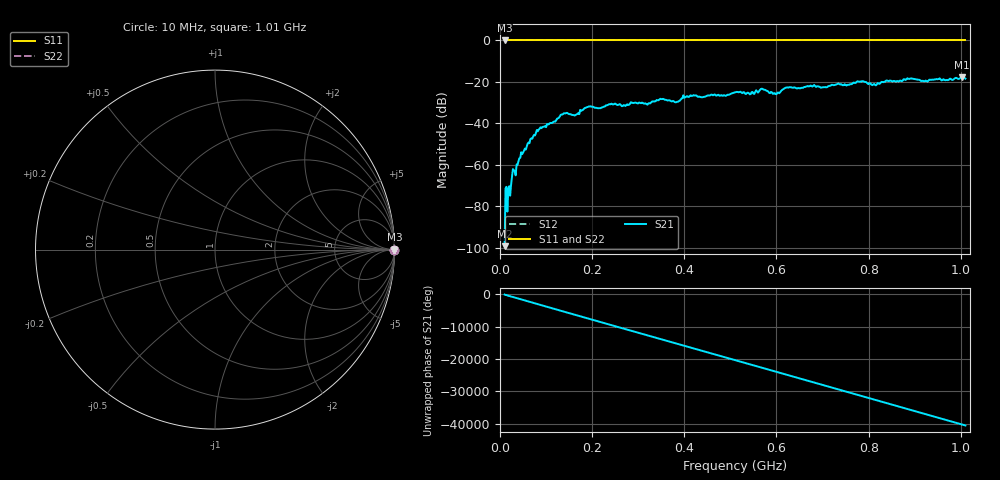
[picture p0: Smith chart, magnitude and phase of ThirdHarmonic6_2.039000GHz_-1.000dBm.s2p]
! 8/17/2025 12:27:34 AM
! C:\ANRITSUVNA\TEMP\TEMP.S2P
! CHANNEL.1
! TR.MEASUREMENT
! RAW.DATA
! RF.CORRECTION.OFF
! AVERAGING.OFF
! IF.BANDWIDTH: 5KHZ
! SWEEPTYPE:  FREQ.SWEEP(Linear)
! Reference Plane Port Info
! PORT:  PORT1  PORT2
! DISTANCE:  0  m  0  m
! TIME:  0  s  0  s
! PHASE.OFFSET:  0  deg.  0  deg.
! LOSS:  0  dB  0  dB
! REF.LOSS:  0  dB  0  dB
! REF.FREQ:  0  Hz  0  Hz
! Power Info
! POWER:  -20  dBm  -20  dBm
! EFF.POWER:  -20  dBm  -20  dBm
! SOURCE.ATTEN:  0  dB  0  dB
! TEST.ATTEN:  0  dB  0  dB
# GHZ S RI R 50.0
! FREQ.GHZ  S11RE  S11IM  S21RE  S21IM  S12RE  S12IM  S22RE  S22IM
!; PortSelection: Port_12
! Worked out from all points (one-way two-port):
!   501 points, 10 MHz to 1.01 GHz, reference 50 ohm
!   highest |S21| = -17.67 dB at 1.002 GHz (marker M1); lowest = -99.1 dB at 10 MHz (marker M2)
!   lowest |S11| = 0.0 dB at 10 MHz (marker M3)
!   |S11| at or under -10 dB: nowhere
!   |S22| runs from 0.0 to 0.0 dB; largest |S21 - S12| = 1.1
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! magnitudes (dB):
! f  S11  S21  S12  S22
! 10 MHz  0.0  -99.1  0.0  0.0
! 16 MHz  0.0  -82.4  0.0  0.0
! 20 MHz  0.0  -70.2  0.0  0.0
! 28 MHz  0.0  -62.0  0.0  0.0
! 44 MHz  0.0  -56.5  0.0  0.0
! 84 MHz  0.0  -43.0  0.0  0.0
! 136 MHz  0.0  -35.6  0.0  0.0
! 162 MHz  0.0  -36.2  0.0  0.0
! 178 MHz  0.0  -33.7  0.0  0.0
! 344 MHz  0.0  -28.8  0.0  0.0
! 382 MHz  0.0  -29.8  0.0  0.0
! 402 MHz  0.0  -27.4  0.0  0.0
! 510 MHz  0.0  -25.0  0.0  0.0
! 570 MHz  0.0  -23.4  0.0  0.0
! 596 MHz  0.0  -25.4  0.0  0.0
! 622 MHz  0.0  -22.7  0.0  0.0
! 678 MHz  0.0  -22.2  0.0  0.0
! 784 MHz  0.0  -19.7  0.0  0.0
! 812 MHz  0.0  -21.0  0.0  0.0
! 844 MHz  0.0  -19.6  0.0  0.0
! 1.002 GHz  0.0  -17.7  0.0  0.0
! 1.01 GHz  0.0  -18.4  0.0  0.0
